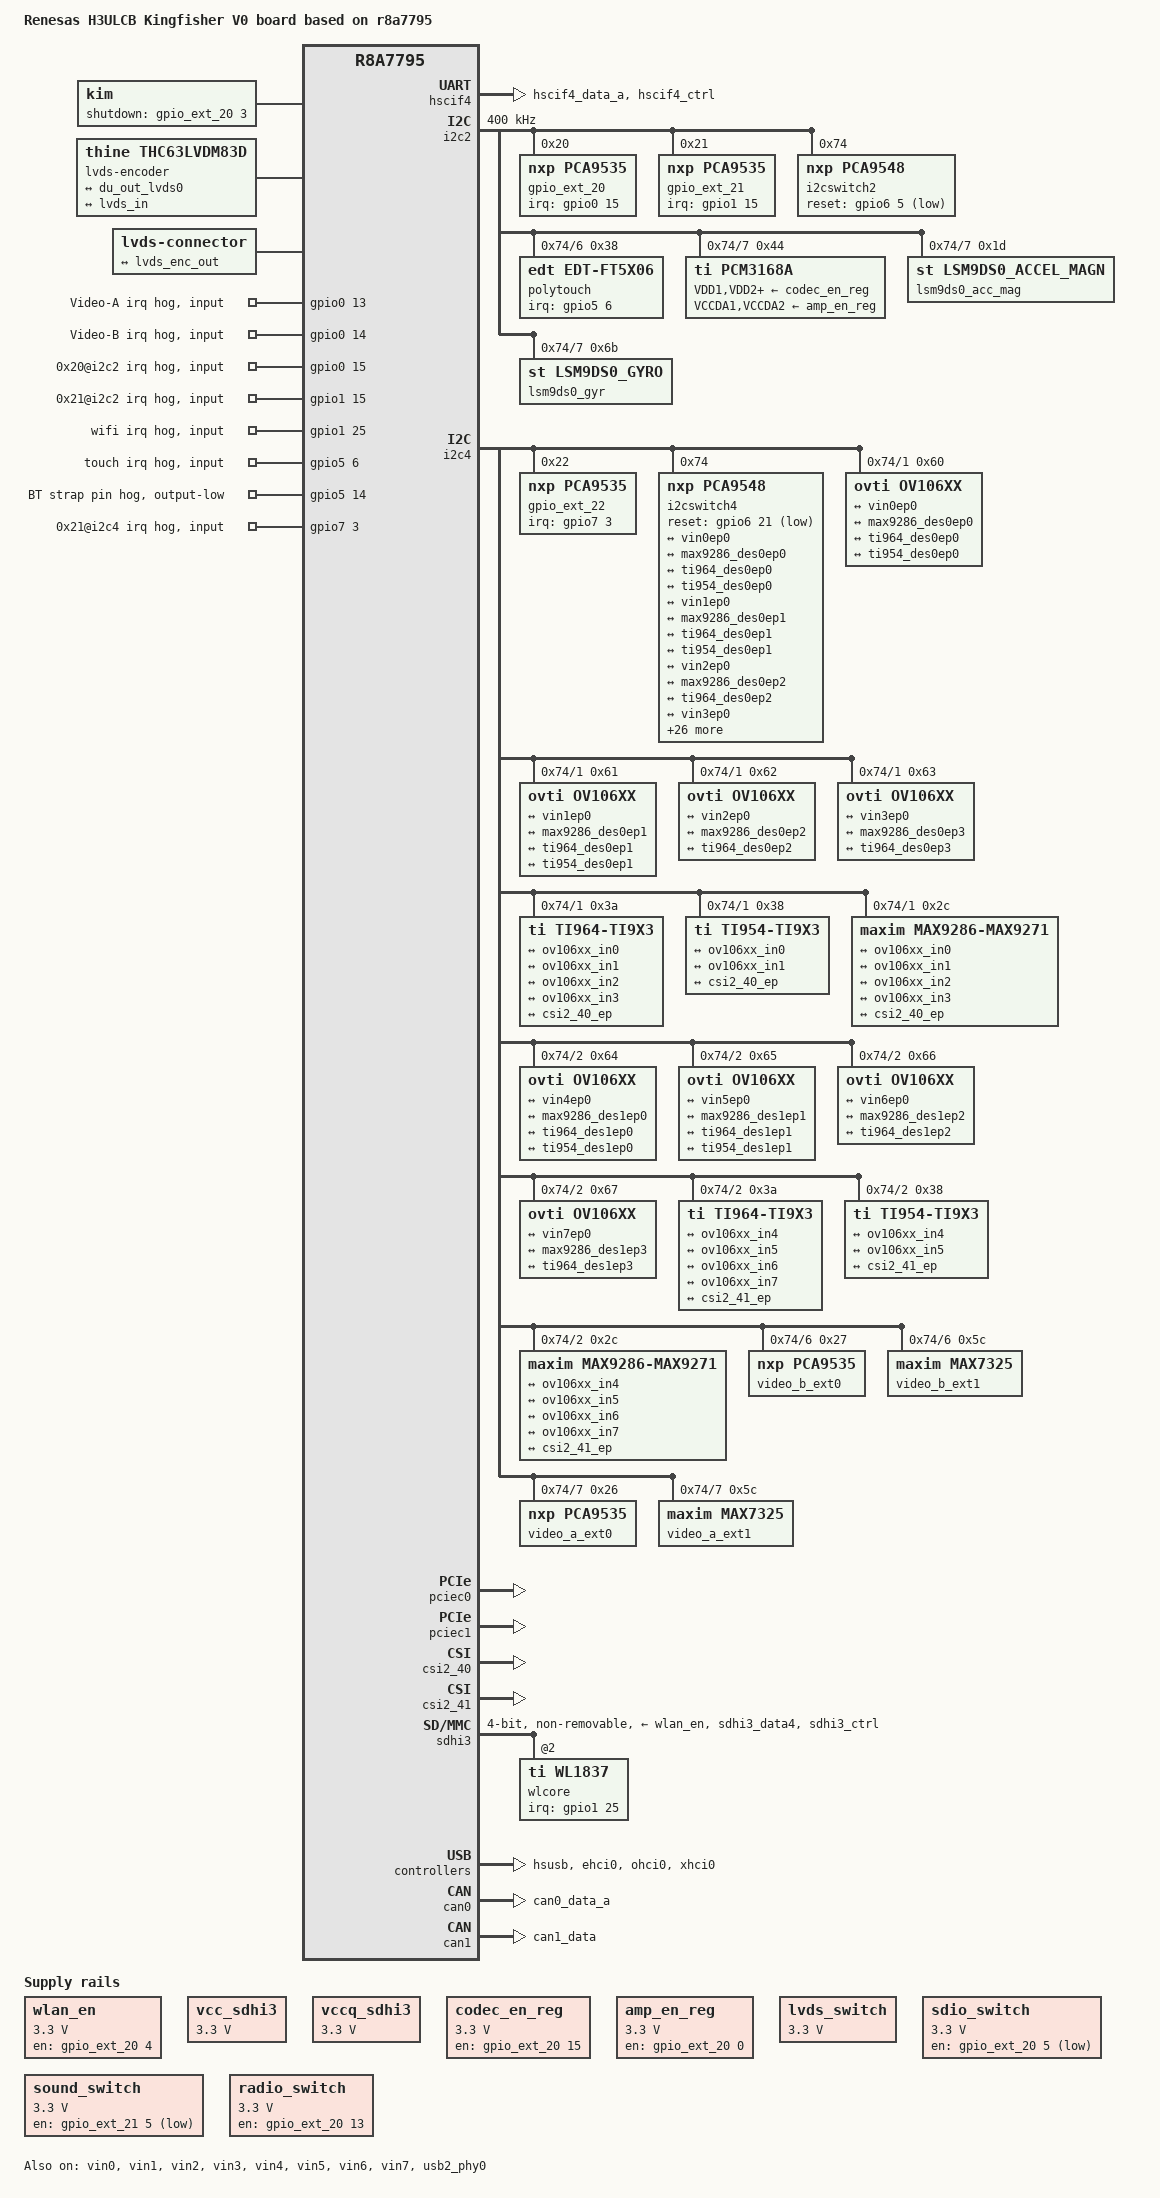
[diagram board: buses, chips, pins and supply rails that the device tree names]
/*
 * Device Tree Source for the H3ULCB Kingfisher V0 board on r8a7795 ES1.x
 *
 * Copyright (C) 2017 Renesas Electronics Corp.
 * Copyright (C) 2017 Cogent Embedded, Inc.
 *
 * This file is licensed under the terms of the GNU General Public License
 * version 2.  This program is licensed "as is" without any warranty of any
 * kind, whether express or implied.
 */

#include "../r8a7795-es1-h3ulcb.dts"

/ {
	model = "Renesas H3ULCB Kingfisher V0 board based on r8a7795";

	aliases {
		serial1 = &hscif4;
	};

	snd_clk: snd_clk {
		compatible = "fixed-clock";
		#clock-cells = <0>;
		clock-frequency = <24576000>;
		clock-output-names = "scki";
	};

	wlan_en: regulator@4 {
		compatible = "regulator-fixed";
		regulator-name = "wlan-en-regulator";

		regulator-min-microvolt = <3300000>;
		regulator-max-microvolt = <3300000>;

		gpio = <&gpio_ext_20 4 GPIO_ACTIVE_HIGH>;
		enable-active-high;
	};

	vcc_sdhi3: regulator@41 {
		compatible = "regulator-fixed";

		regulator-name = "SDHI3 Vcc";
		regulator-min-microvolt = <3300000>;
		regulator-max-microvolt = <3300000>;
		regulator-always-on;
	};

	vccq_sdhi3: regulator@5 {
		compatible = "regulator-fixed";

		regulator-name = "SDHI3 VccQ";
		regulator-min-microvolt = <3300000>;
		regulator-max-microvolt = <3300000>;
	};

	codec_en_reg: regulator@6 {
		compatible = "regulator-fixed";
		regulator-name = "codec-en-regulator";
		regulator-min-microvolt = <3300000>;
		regulator-max-microvolt = <3300000>;

		gpio = <&gpio_ext_20 15 0>;

		/* delay - CHECK */
		startup-delay-us = <70000>;
		enable-active-high;
	};

	amp_en_reg: regulator@7 {
		compatible = "regulator-fixed";
		regulator-name = "amp-en-regulator";
		regulator-min-microvolt = <3300000>;
		regulator-max-microvolt = <3300000>;

		gpio = <&gpio_ext_20 0 0>;

		startup-delay-us = <0>;
		enable-active-high;
	};

	lvds_switch: regulator@8 {
		compatible = "regulator-fixed";
		regulator-name = "lvds_on";
		regulator-min-microvolt = <3300000>;
		regulator-max-microvolt = <3300000>;
		/* gpio = <&gpio1 24 0>; */
		enable-active-high;
		regulator-always-on;
	};

	sdio_switch: regulator@9 {
		compatible = "regulator-fixed";
		regulator-name = "wifi_on";
		regulator-min-microvolt = <3300000>;
		regulator-max-microvolt = <3300000>;
		gpio = <&gpio_ext_20 5 0>;
		enable-active-low;
		regulator-always-on;
	};

	sound_switch: regulator@10 {
		compatible = "regulator-fixed";
		regulator-name = "pcm3168a_on";
		regulator-min-microvolt = <3300000>;
		regulator-max-microvolt = <3300000>;
		gpio = <&gpio_ext_21 5 0>;
		enable-active-low;
		regulator-always-on;
	};

	radio_switch: regulator@11 {
		compatible = "regulator-fixed";
		regulator-name = "radio_on";
		regulator-min-microvolt = <3300000>;
		regulator-max-microvolt = <3300000>;
		gpio = <&gpio_ext_20 13 GPIO_ACTIVE_HIGH>;
		enable-active-high;
		regulator-always-on;
	};

	kim {
		compatible = "kim";
		shutdown-gpios = <&gpio_ext_20 3 GPIO_ACTIVE_HIGH>;
		/* serial1 */
		dev_name = "/dev/ttySC1";
		flow_cntrl = <1>;
		/* int div 8 hscif@26.6666656MHz */
		baud_rate = <3333332>;
	};

	btwilink {
		compatible = "btwilink";
	};

	sound_ext: sound@0 {
		pinctrl-0 = <&sound_0_pins>;
		pinctrl-names = "default";
		compatible = "simple-audio-card";

		simple-audio-card,format = "left_j";
		simple-audio-card,name = "pcm3168a";

		simple-audio-card,bitclock-master = <&sound_ext_master>;
		simple-audio-card,frame-master = <&sound_ext_master>;
		sound_ext_master: simple-audio-card,cpu@0 {
			sound-dai = <&rcar_sound 0>;
			dai-tdm-slot-num = <8>;
			dai-tdm-slot-width = <32>;
		};

		simple-audio-card,codec@0 {
			sound-dai = <&pcm3168a>;
			dai-tdm-slot-num = <8>;
			dai-tdm-slot-width = <32>;
			system-clock-frequency = <24576000>;
		};
	};

	/delete-node/sound;

	rsnd_ak4613: sound@1 {
		pinctrl-0 = <&sound_1_pins>;
		pinctrl-names = "default";
		compatible = "simple-audio-card";

		simple-audio-card,format = "left_j";
		simple-audio-card,name = "ak4613";

		simple-audio-card,bitclock-master = <&sndcpu>;
		simple-audio-card,frame-master = <&sndcpu>;

		sndcpu: simple-audio-card,cpu@1 {
			sound-dai = <&rcar_sound 1>;
		};

		sndcodec: simple-audio-card,codec@1 {
			sound-dai = <&ak4613>;
		};
	};

	sound_radio: sound@2 {
		pinctrl-0 = <&sound_2_pins>;
		pinctrl-names = "default";
		compatible = "simple-audio-card";

		simple-audio-card,format = "i2s";
		simple-audio-card,name = "radio";

		simple-audio-card,bitclock-master = <&sound_radio_master>;
		simple-audio-card,frame-master = <&sound_radio_master>;
		simple-audio-card,cpu@2 {
			sound-dai = <&rcar_sound 2>;
		};

		sound_radio_master: simple-audio-card,codec@2 {
			sound-dai = <&radio>;
			system-clock-frequency = <12288000>;
		};
	};

	lvds-encoder {
		compatible = "thine,thc63lvdm83d";

		ports {
			#address-cells = <1>;
			#size-cells = <0>;
			port@0 {
				reg = <0>;
				lvds_enc_in: endpoint {
					remote-endpoint = <&du_out_lvds0>;
				};
			};
			port@1 {
				reg = <1>;
				lvds_enc_out: endpoint {
					remote-endpoint = <&lvds_in>;
				};
			};
		};
	};

	lvds {
		compatible = "lvds-connector";

		width-mm = <210>;
		height-mm = <158>;

		panel-timing {
			/* 1280x800 @60Hz */
			clock-frequency = <65000000>;
			hactive = <1280>;
			vactive = <800>;
			hsync-len = <40>;
			hfront-porch = <80>;
			hback-porch = <40>;
			vfront-porch = <14>;
			vback-porch = <14>;
			vsync-len = <4>;
		};

		port {
			lvds_in: endpoint {
				remote-endpoint = <&lvds_enc_out>;
			};
		};
	};

	radio: si468x@0 {
		compatible = "si,si468x-pcm";
		status = "okay";

		#sound-dai-cells = <0>;
	};
};

&pfc {
	hscif4_pins: hscif4 {
		groups = "hscif4_data_a", "hscif4_ctrl";
		function = "hscif4";
	};

	sdhi3_pins_3v3: sd3_3v3 {
		groups = "sdhi3_data4", "sdhi3_ctrl";
		function = "sdhi3";
		power-source = <3300>;
	};

	sound_0_pins: sound0 {
		groups = "ssi78_ctrl", "ssi7_data", "ssi8_data";
		function = "ssi";
	};

	sound_1_pins: sound1 {
		groups = "ssi01239_ctrl", "ssi0_data", "ssi1_data_a";
		function = "ssi";
	};

	sound_2_pins: sound2 {
		groups = "ssi6_ctrl", "ssi6_data";
		function = "ssi";
	};

	usb0_pins: usb0 {
		groups = "usb0";
		function = "usb0";
	};

	can0_pins: can0 {
		groups = "can0_data_a";
		function = "can0";
	};

	can1_pins: can1 {
		groups = "can1_data";
		function = "can1";
	};

	canfd0_pins: canfd0 {
		groups = "canfd0_data_a";
		function = "canfd0";
	};

	canfd1_pins: canfd1 {
		groups = "canfd1_data";
		function = "canfd1";
	};
};

&du {
	ports {
		port@3 {
			endpoint {
				remote-endpoint = <&lvds_enc_in>;
			};
		};
	};
};

&gpio0 {
	video_a_irq {
		gpio-hog;
		gpios = <13 GPIO_ACTIVE_HIGH>;
		input;
		line-name = "Video-A irq";
	};

	video_b_irq {
		gpio-hog;
		gpios = <14 GPIO_ACTIVE_HIGH>;
		input;
		line-name = "Video-B irq";
	};

	gpioext_2_20_irq {
		gpio-hog;
		gpios = <15 GPIO_ACTIVE_HIGH>;
		input;
		line-name = "0x20@i2c2 irq";
	};
};

&gpio1 {
	gpioext_2_21_irq {
		gpio-hog;
		gpios = <15 GPIO_ACTIVE_HIGH>;
		input;
		line-name = "0x21@i2c2 irq";
	};

	wifi_irq {
		gpio-hog;
		gpios = <25 GPIO_ACTIVE_HIGH>;
		input;
		line-name = "wifi irq";
	};
};

&gpio5 {
	touch_irq {
		gpio-hog;
		gpios = <6 GPIO_ACTIVE_HIGH>;
		input;
		line-name = "touch irq";
	};

	/* From TI forum */
	/* BT_AUD_OUT should be pulled low when WL_EN is activated. */
	/* in case it isn't, wilink8 ends up in one of the test modes that introduces various issues */
	bt_strap {
		gpio-hog;
		gpios = <14 GPIO_ACTIVE_HIGH>;
		output-low;
		line-name = "BT strap pin";
	};
};

&gpio7 {
	gpioext_2_21_irq {
		gpio-hog;
		gpios = <3 GPIO_ACTIVE_HIGH>;
		input;
		line-name = "0x21@i2c4 irq";
	};
};

&hscif4 {
	pinctrl-0 = <&hscif4_pins>;
	pinctrl-names = "default";
	uart-has-rtscts;

	status = "okay";
};

&i2c2 {
	clock-frequency = <400000>;

	gpio_ext_20: pca9535@20 {
		compatible = "nxp,pca9535";
		reg = <0x20>;
		gpio-controller;
		#gpio-cells = <2>;
		interrupt-controller;
		interrupt-parent = <&gpio0>;
		interrupts = <15 IRQ_TYPE_EDGE_FALLING>;
	};

	gpio_ext_21: pca9535@21 {
		compatible = "nxp,pca9535";
		reg = <0x21>;
		gpio-controller;
		#gpio-cells = <2>;
		interrupt-controller;
		interrupt-parent = <&gpio1>;
		interrupts = <15 IRQ_TYPE_EDGE_FALLING>;
	};

	i2cswitch2: pca9548@74 {
		compatible = "nxp,pca9548";
		#address-cells = <1>;
		#size-cells = <0>;
		reg = <0x74>;
		reset-gpios = <&gpio6 5 GPIO_ACTIVE_LOW>;

		i2c@0 {
			#address-cells = <1>;
			#size-cells = <0>;
			reg = <0>;
			/* BCM node(s) */
		};

		i2c@1 {
			#address-cells = <1>;
			#size-cells = <0>;
			reg = <1>;
			/* USB3.0 HUB node(s) */
		};

		i2c@2 {
			#address-cells = <1>;
			#size-cells = <0>;
			reg = <2>;
			/* Power amp node(s) */
		};

		i2c@3 {
			#address-cells = <1>;
			#size-cells = <0>;
			reg = <3>;
			/* Radio node(s) */
		};

		i2c@4 {
			#address-cells = <1>;
			#size-cells = <0>;
			reg = <4>;
			/* A2B node(s) */
		};

		i2c@5 {
			#address-cells = <1>;
			#size-cells = <0>;
			reg = <5>;
			/* PCIe node(s) */
		};

		i2c@6 {
			#address-cells = <1>;
			#size-cells = <0>;
			reg = <6>;
			/* LVDS display node(s) */

			polytouch: edt-ft5x06@38 {
				compatible = "edt,edt-ft5x06";
				reg = <0x38>;
				interrupt-parent = <&gpio5>;
				interrupts = <6 IRQ_TYPE_EDGE_FALLING>;
			};
		};

		i2c@7 {
			#address-cells = <1>;
			#size-cells = <0>;
			reg = <7>;
			/* Audio, GPS and Gyro node(s) */

			pcm3168a: audio-codec@44 {
				#sound-dai-cells = <0>;
				compatible = "ti,pcm3168a";
				reg = <0x44>;
				clocks = <&snd_clk>;
				clock-names = "scki";
				tdm;
				VDD1-supply = <&codec_en_reg>;
				VDD2-supply = <&codec_en_reg>;
				VCCAD1-supply = <&codec_en_reg>;
				VCCAD2-supply = <&codec_en_reg>;
				VCCDA1-supply = <&amp_en_reg>;
				VCCDA2-supply = <&amp_en_reg>;
			};

			lsm9ds0_acc_mag@1d {
				compatible = "st,lsm9ds0_accel_magn";
				reg = <0x1d>;
			};

			lsm9ds0_gyr@6b {
				compatible = "st,lsm9ds0_gyro";
				reg = <0x6b>;
			};

			/* GPS@ 0x42 */
		};
	};
};

&i2c4 {
	gpio_ext_22: pca9535@21 {
		compatible = "nxp,pca9535";
		reg = <0x22>;
		gpio-controller;
		#gpio-cells = <2>;
		interrupt-controller;
		interrupt-parent = <&gpio7>;
		interrupts = <3 IRQ_TYPE_EDGE_FALLING>;

		cmos_pwdn {
			gpio-hog;
			gpios = <8 GPIO_ACTIVE_HIGH>;
			output-high;
			line-name = "CMOS PWDN";
		};
		cmos_rst {
			gpio-hog;
			gpios = <9 GPIO_ACTIVE_HIGH>;
			output-high;
			line-name = "CMOS RST";
		};
		/* pin 12 - CAM_CLK */
		rpi_cam_io_1 {
			gpio-hog;
			gpios = <10 GPIO_ACTIVE_HIGH>;
			output-high;
			line-name = "RaspB_IO1";
		};
		/* pin 11 - CAM_GPIO - assume pwdn */
		rpi_cam_io_0 {
			gpio-hog;
			gpios = <11 GPIO_ACTIVE_HIGH>;
			output-high;
			line-name = "RaspB_IO0";
		};
	};

	i2cswitch4: pca9548@74 {
		compatible = "nxp,pca9548";
		#address-cells = <1>;
		#size-cells = <0>;
		reg = <0x74>;
		reset-gpios= <&gpio6 21 GPIO_ACTIVE_LOW>;

		i2c@0 {
			#address-cells = <1>;
			#size-cells = <0>;
			reg = <0>;
			/* SAM node(s) */
		};

		i2c@1 {
			#address-cells = <1>;
			#size-cells = <0>;
			reg = <1>;
			/* Slot A (CN10) */

			ov106xx@0 {
				compatible = "ovti,ov106xx";
				reg = <0x60>;

				port@0 {
					ov106xx_in0: endpoint {
						clock-lanes = <0>;
						data-lanes = <1 2 3 4>;
						remote-endpoint = <&vin0ep0>;
					};
				};
				port@1 {
					ov106xx_max9286_des0ep0: endpoint@0 {
						remote-endpoint = <&max9286_des0ep0>;
					};
					ov106xx_ti964_des0ep0: endpoint@1 {
						remote-endpoint = <&ti964_des0ep0>;
					};
					ov106xx_ti954_des0ep0: endpoint@2 {
						remote-endpoint = <&ti954_des0ep0>;
					};
				};
			};

			ov106xx@1 {
				compatible = "ovti,ov106xx";
				reg = <0x61>;

				port@0 {
					ov106xx_in1: endpoint {
						clock-lanes = <0>;
						data-lanes = <1 2 3 4>;
						remote-endpoint = <&vin1ep0>;
					};
				};
				port@1 {
					ov106xx_max9286_des0ep1: endpoint@0 {
						remote-endpoint = <&max9286_des0ep1>;
					};
					ov106xx_ti964_des0ep1: endpoint@1 {
						remote-endpoint = <&ti964_des0ep1>;
					};
					ov106xx_ti954_des0ep1: endpoint@2 {
						remote-endpoint = <&ti954_des0ep1>;
					};
				};
			};

			ov106xx@2 {
				compatible = "ovti,ov106xx";
				reg = <0x62>;

				port@0 {
					ov106xx_in2: endpoint {
						clock-lanes = <0>;
						data-lanes = <1 2 3 4>;
						remote-endpoint = <&vin2ep0>;
					};
				};
				port@1 {
					ov106xx_max9286_des0ep2: endpoint@0 {
						remote-endpoint = <&max9286_des0ep2>;
					};
					ov106xx_ti964_des0ep2: endpoint@1 {
						remote-endpoint = <&ti964_des0ep2>;
					};
				};
			};

			ov106xx@3 {
				compatible = "ovti,ov106xx";
				reg = <0x63>;

				port@0 {
					ov106xx_in3: endpoint {
						clock-lanes = <0>;
						data-lanes = <1 2 3 4>;
						remote-endpoint = <&vin3ep0>;
					};
				};
				port@1 {
					ov106xx_max9286_des0ep3: endpoint@0 {
						remote-endpoint = <&max9286_des0ep3>;
					};
					ov106xx_ti964_des0ep3: endpoint@1 {
						remote-endpoint = <&ti964_des0ep3>;
					};
				};
			};

			/* DS90UB964 @ 0x3a */
			ti964-ti9x3@0 {
				compatible = "ti,ti964-ti9x3";
				reg = <0x3a>;
				ti,sensor_delay = <350>;
				ti,links = <4>;
				ti,lanes = <4>;
				ti,forwarding-mode = "round-robin";
				ti,cable-mode = "coax";

				port@0 {
					ti964_des0ep0: endpoint@0 {
						ti9x3-addr = <0x0c>;
						dvp-order = <0>;
						remote-endpoint = <&ov106xx_in0>;
					};
					ti964_des0ep1: endpoint@1 {
						ti9x3-addr = <0x0d>;
						dvp-order = <0>;
						remote-endpoint = <&ov106xx_in1>;
					};
					ti964_des0ep2: endpoint@2 {
						ti9x3-addr = <0x0e>;
						dvp-order = <0>;
						remote-endpoint = <&ov106xx_in2>;
					};
					ti964_des0ep3: endpoint@3 {
						ti9x3-addr = <0x0f>;
						dvp-order = <0>;
						remote-endpoint = <&ov106xx_in3>;
					};
				};
				port@1 {
					ti964_csi0ep0: endpoint {
						csi-rate = <1450>;
						remote-endpoint = <&csi2_40_ep>;
					};
				};
			};

			/* DS90UB954 @ 0x38 */
			ti954-ti9x3@0 {
				compatible = "ti,ti954-ti9x3";
				reg = <0x38>;
				/* gpios = <&video_a_ext1 10 GPIO_ACTIVE_HIGH>; */
				ti,sensor_delay = <350>;
				ti,links = <2>;
				ti,lanes = <4>;
				ti,forwarding-mode = "round-robin";
				ti,cable-mode = "coax";

				port@0 {
					ti954_des0ep0: endpoint@0 {
						ti9x3-addr = <0x0c>;
						dvp-order = <0>;
						remote-endpoint = <&ov106xx_in0>;
					};
					ti954_des0ep1: endpoint@1 {
						ti9x3-addr = <0x0d>;
						dvp-order = <0>;
						remote-endpoint = <&ov106xx_in1>;
					};
				};
				port@1 {
					ti954_csi0ep0: endpoint {
						csi-rate = <1450>;
						remote-endpoint = <&csi2_40_ep>;
					};
				};
			};

			/* MAX9286 @ 0x2c */
			max9286-max9271@0 {
				compatible = "maxim,max9286-max9271";
				reg = <0x2c>;
				maxim,sensor_delay = <350>;
				maxim,links = <4>;
				maxim,lanes = <4>;
				maxim,resetb-gpio = <1>;
				maxim,fsync-mode = "automatic";
				maxim,timeout = <100>;

				port@0 {
					max9286_des0ep0: endpoint@0 {
						max9271-addr = <0x50>;
						dvp-order = <1>;
						remote-endpoint = <&ov106xx_in0>;
					};
					max9286_des0ep1: endpoint@1 {
						max9271-addr = <0x51>;
						dvp-order = <1>;
						remote-endpoint = <&ov106xx_in1>;
					};
					max9286_des0ep2: endpoint@2 {
						max9271-addr = <0x52>;
						dvp-order = <1>;
						remote-endpoint = <&ov106xx_in2>;
					};
					max9286_des0ep3: endpoint@3 {
						max9271-addr = <0x53>;
						dvp-order = <1>;
						remote-endpoint = <&ov106xx_in3>;
					};
				};
				port@1 {
					max9286_csi0ep0: endpoint {
						csi-rate = <700>;
						remote-endpoint = <&csi2_40_ep>;
					};
				};
			};
		};

		i2c@2 {
			#address-cells = <1>;
			#size-cells = <0>;
			reg = <2>;
			/* Slot B (CN11) */

			ov106xx@4 {
				compatible = "ovti,ov106xx";
				reg = <0x64>;

				port@0 {
					ov106xx_in4: endpoint {
						clock-lanes = <0>;
						data-lanes = <1 2 3 4>;
						remote-endpoint = <&vin4ep0>;
					};
				};
				port@1 {
					ov106xx_max9286_des1ep0: endpoint@0 {
						remote-endpoint = <&max9286_des1ep0>;
					};
					ov106xx_ti964_des1ep0: endpoint@1 {
						remote-endpoint = <&ti964_des1ep0>;
					};
					ov106xx_ti954_des1ep0: endpoint@2 {
						remote-endpoint = <&ti954_des1ep0>;
					};
				};
			};

			ov106xx@5 {
				compatible = "ovti,ov106xx";
				reg = <0x65>;

				port@0 {
					ov106xx_in5: endpoint {
						clock-lanes = <0>;
						data-lanes = <1 2 3 4>;
						remote-endpoint = <&vin5ep0>;
					};
				};
				port@1 {
					ov106xx_max9286_des1ep1: endpoint@0 {
						remote-endpoint = <&max9286_des1ep1>;
					};
					ov106xx_ti964_des1ep1: endpoint@1 {
						remote-endpoint = <&ti964_des1ep1>;
					};
					ov106xx_ti954_des1ep1: endpoint@2 {
						remote-endpoint = <&ti954_des1ep1>;
					};
				};
			};

			ov106xx@6 {
				compatible = "ovti,ov106xx";
				reg = <0x66>;

				port@0 {
					ov106xx_in6: endpoint {
						clock-lanes = <0>;
						data-lanes = <1 2 3 4>;
						remote-endpoint = <&vin6ep0>;
					};
				};
				port@1 {
					ov106xx_max9286_des1ep2: endpoint@0 {
						remote-endpoint = <&max9286_des1ep2>;
					};
					ov106xx_ti964_des1ep2: endpoint@1 {
						remote-endpoint = <&ti964_des1ep2>;
					};
				};
			};

			ov106xx@7 {
				compatible = "ovti,ov106xx";
				reg = <0x67>;

				port@0 {
					ov106xx_in7: endpoint {
						clock-lanes = <0>;
						data-lanes = <1 2 3 4>;
						remote-endpoint = <&vin7ep0>;
					};
				};
				port@1 {
					ov106xx_max9286_des1ep3: endpoint@0 {
						remote-endpoint = <&max9286_des1ep3>;
					};
					ov106xx_ti964_des1ep3: endpoint@1 {
						remote-endpoint = <&ti964_des1ep3>;
					};
				};
			};

			/* DS90UB964 @ 0x3a */
			ti964-ti9x3@1 {
				compatible = "ti,ti964-ti9x3";
				reg = <0x3a>;
				ti,sensor_delay = <350>;
				ti,links = <4>;
				ti,lanes = <4>;
				ti,forwarding-mode = "round-robin";
				ti,cable-mode = "coax";

				port@0 {
					ti964_des1ep0: endpoint@0 {
						ti9x3-addr = <0x0c>;
						dvp-order = <0>;
						remote-endpoint = <&ov106xx_in4>;
					};
					ti964_des1ep1: endpoint@1 {
						ti9x3-addr = <0x0d>;
						dvp-order = <0>;
						remote-endpoint = <&ov106xx_in5>;
					};
					ti964_des1ep2: endpoint@2 {
						ti9x3-addr = <0x0e>;
						dvp-order = <0>;
						remote-endpoint = <&ov106xx_in6>;
					};
					ti964_des1ep3: endpoint@3 {
						ti9x3-addr = <0x0f>;
						dvp-order = <0>;
						remote-endpoint = <&ov106xx_in7>;
					};
				};
				port@1 {
					ti964_csi2ep0: endpoint {
						csi-rate = <1450>;
						remote-endpoint = <&csi2_41_ep>;
					};
				};
			};

			/* DS90UB954 @ 0x38 */
			ti954-ti9x3@1 {
				compatible = "ti,ti954-ti9x3";
				reg = <0x38>;
				/* gpios = <&video_b_ext1 10 GPIO_ACTIVE_HIGH>; */
				ti,sensor_delay = <350>;
				ti,links = <2>;
				ti,lanes = <4>;
				ti,forwarding-mode = "round-robin";
				ti,cable-mode = "coax";

				port@0 {
					ti954_des1ep0: endpoint@0 {
						ti9x3-addr = <0x0c>;
						dvp-order = <0>;
						remote-endpoint = <&ov106xx_in4>;
					};
					ti954_des1ep1: endpoint@1 {
						ti9x3-addr = <0x0d>;
						dvp-order = <0>;
						remote-endpoint = <&ov106xx_in5>;
					};
				};
				port@1 {
					ti954_csi2ep0: endpoint {
						csi-rate = <1450>;
						remote-endpoint = <&csi2_41_ep>;
					};
				};
			};

			/* MAX9286 @ 0x2c */
			max9286-max9271@1 {
				compatible = "maxim,max9286-max9271";
				reg = <0x2c>;
				maxim,sensor_delay = <350>;
				maxim,links = <4>;
				maxim,lanes = <4>;
				maxim,resetb-gpio = <1>;
				maxim,fsync-mode = "automatic";
				maxim,timeout = <100>;

				port@0 {
					max9286_des1ep0: endpoint@0 {
						max9271-addr = <0x50>;
						dvp-order = <1>;
						remote-endpoint = <&ov106xx_in4>;
					};
					max9286_des1ep1: endpoint@1 {
						max9271-addr = <0x51>;
						dvp-order = <1>;
						remote-endpoint = <&ov106xx_in5>;
					};
					max9286_des1ep2: endpoint@2 {
						max9271-addr = <0x52>;
						dvp-order = <1>;
						remote-endpoint = <&ov106xx_in6>;
					};
					max9286_des1ep3: endpoint@3 {
						max9271-addr = <0x53>;
						dvp-order = <1>;
						remote-endpoint = <&ov106xx_in7>;
					};
				};
				port@1 {
					max9286_csi2ep0: endpoint {
						csi-rate = <700>;
						remote-endpoint = <&csi2_41_ep>;
					};
				};
			};
		};

		i2c@6 {
			#address-cells = <1>;
			#size-cells = <0>;
			reg = <6>;
			/* Slot B (CN11) */

			video_b_ext0: pca9535@27 {
				compatible = "nxp,pca9535";
				reg = <0x27>;
				gpio-controller;
				#gpio-cells = <2>;

				video_b_des_cfg1 {
					gpio-hog;
					gpios = <5 GPIO_ACTIVE_HIGH>;
					input;
					line-name = "Video-B cfg1";
				};
				video_b_des_cfg0 {
					gpio-hog;
					gpios = <6 GPIO_ACTIVE_HIGH>;
					input;
					line-name = "Video-B cfg0";
				};
				video_b_pwr_shdn {
					gpio-hog;
					gpios = <3 GPIO_ACTIVE_HIGH>;
					output-high;
					line-name = "Video-B PWR_SHDN";
				};
				video_b_cam_pwr0 {
					gpio-hog;
					gpios = <12 GPIO_ACTIVE_HIGH>;
					output-high;
					line-name = "Video-B PWR0";
				};
				video_b_cam_pwr1 {
					gpio-hog;
					gpios = <13 GPIO_ACTIVE_HIGH>;
					output-high;
					line-name = "Video-B PWR1";
				};
				video_b_cam_pwr2 {
					gpio-hog;
					gpios = <14 GPIO_ACTIVE_HIGH>;
					output-high;
					line-name = "Video-B PWR2";
				};
				video_b_cam_pwr3 {
					gpio-hog;
					gpios = <15 GPIO_ACTIVE_HIGH>;
					output-high;
					line-name = "Video-B PWR3";
				};
				video_b_des_shdn {
					gpio-hog;
					gpios = <4 GPIO_ACTIVE_HIGH>;
					output-high;
					line-name = "Video-B DES_SHDN";
				};
				video_b_des_led {
					gpio-hog;
					gpios = <7 GPIO_ACTIVE_HIGH>;
					output-low;
					line-name = "Video-B led";
				};
			};

			video_b_ext1: max7325@5c {
				compatible = "maxim,max7325";
				reg = <0x5c>;
				gpio-controller;
				#gpio-cells = <2>;

				video_b_des_cfg2 {
					gpio-hog;
					gpios = <4 GPIO_ACTIVE_HIGH>;
					input;
					line-name = "Video-B cfg2";
				};
				video_b_des_cfg1 {
					gpio-hog;
					gpios = <6 GPIO_ACTIVE_HIGH>;
					input;
					line-name = "Video-B cfg1";
				};
				video_b_des_cfg0 {
					gpio-hog;
					gpios = <7 GPIO_ACTIVE_HIGH>;
					input;
					line-name = "Video-B cfg0";
				};
				video_b_pwr_shdn {
					gpio-hog;
					gpios = <14 GPIO_ACTIVE_HIGH>;
					output-high;
					line-name = "Video-B PWR_SHDN";
				};
				video_b_cam_pwr0 {
					gpio-hog;
					gpios = <8 GPIO_ACTIVE_HIGH>;
					output-high;
					line-name = "Video-B PWR0";
				};
				video_b_cam_pwr1 {
					gpio-hog;
					gpios = <9 GPIO_ACTIVE_HIGH>;
					output-high;
					line-name = "Video-B PWR1";
				};
				video_b_cam_pwr2 {
					gpio-hog;
					gpios = <10 GPIO_ACTIVE_HIGH>;
					output-high;
					line-name = "Video-B PWR2";
				};
				video_b_cam_pwr3 {
					gpio-hog;
					gpios = <11 GPIO_ACTIVE_HIGH>;
					output-high;
					line-name = "Video-B PWR3";
				};
				video_b_des_shdn {
					gpio-hog;
					gpios = <13 GPIO_ACTIVE_HIGH>;
					output-high;
					line-name = "Video-B DES_SHDN";
				};
				video_b_led {
					gpio-hog;
					gpios = <12 GPIO_ACTIVE_HIGH>;
					output-low;
					line-name = "Video-B LED";
				};
			};
		};

		i2c@7 {
			#address-cells = <1>;
			#size-cells = <0>;
			reg = <7>;
			/* Slot A (CN10) */

			video_a_ext0: pca9535@26 {
				compatible = "nxp,pca9535";
				reg = <0x26>;
				gpio-controller;
				#gpio-cells = <2>;

				video_a_des_cfg1 {
					gpio-hog;
					gpios = <5 GPIO_ACTIVE_HIGH>;
					input;
					line-name = "Video-A cfg1";
				};
				video_a_des_cfg0 {
					gpio-hog;
					gpios = <6 GPIO_ACTIVE_HIGH>;
					input;
					line-name = "Video-A cfg0";
				};
				video_a_pwr_shdn {
					gpio-hog;
					gpios = <3 GPIO_ACTIVE_HIGH>;
					output-high;
					line-name = "Video-A PWR_SHDN";
				};
				video_a_cam_pwr0 {
					gpio-hog;
					gpios = <12 GPIO_ACTIVE_HIGH>;
					output-high;
					line-name = "Video-A PWR0";
				};
				video_a_cam_pwr1 {
					gpio-hog;
					gpios = <13 GPIO_ACTIVE_HIGH>;
					output-high;
					line-name = "Video-A PWR1";
				};
				video_a_cam_pwr2 {
					gpio-hog;
					gpios = <14 GPIO_ACTIVE_HIGH>;
					output-high;
					line-name = "Video-A PWR2";
				};
				video_a_cam_pwr3 {
					gpio-hog;
					gpios = <15 GPIO_ACTIVE_HIGH>;
					output-high;
					line-name = "Video-A PWR3";
				};
				video_a_des_shdn {
					gpio-hog;
					gpios = <4 GPIO_ACTIVE_HIGH>;
					output-high;
					line-name = "Video-A DES_SHDN";
				};
				video_a_des_led {
					gpio-hog;
					gpios = <7 GPIO_ACTIVE_HIGH>;
					output-low;
					line-name = "Video-A led";
				};
			};

			video_a_ext1: max7325@5c {
				compatible = "maxim,max7325";
				reg = <0x5c>;
				gpio-controller;
				#gpio-cells = <2>;

				video_a_des_cfg2 {
					gpio-hog;
					gpios = <4 GPIO_ACTIVE_HIGH>;
					input;
					line-name = "Video-A cfg2";
				};
				video_a_des_cfg1 {
					gpio-hog;
					gpios = <6 GPIO_ACTIVE_HIGH>;
					input;
					line-name = "Video-A cfg1";
				};
				video_a_des_cfg0 {
					gpio-hog;
					gpios = <7 GPIO_ACTIVE_HIGH>;
					input;
					line-name = "Video-A cfg0";
				};
				video_a_pwr_shdn {
					gpio-hog;
					gpios = <14 GPIO_ACTIVE_HIGH>;
					output-high;
					line-name = "Video-A PWR_SHDN";
				};
				video_a_cam_pwr0 {
					gpio-hog;
					gpios = <8 GPIO_ACTIVE_HIGH>;
					output-high;
					line-name = "Video-A PWR0";
				};
				video_a_cam_pwr1 {
					gpio-hog;
					gpios = <9 GPIO_ACTIVE_HIGH>;
					output-high;
					line-name = "Video-A PWR1";
				};
				video_a_cam_pwr2 {
					gpio-hog;
					gpios = <10 GPIO_ACTIVE_HIGH>;
					output-high;
					line-name = "Video-A PWR2";
				};
				video_a_cam_pwr3 {
					gpio-hog;
					gpios = <11 GPIO_ACTIVE_HIGH>;
					output-high;
					line-name = "Video-A PWR3";
				};
				video_a_des_shdn {
					gpio-hog;
					gpios = <13 GPIO_ACTIVE_HIGH>;
					output-high;
					line-name = "Video-A DES_SHDN";
				};
				video_a_led {
					gpio-hog;
					gpios = <12 GPIO_ACTIVE_HIGH>;
					output-low;
					line-name = "Video-A LED";
				};
			};
		};
	};
};

&pcie_bus_clk {
	clock-frequency = <100000000>;
	status = "okay";
};

&pciec0 {
	status = "okay";
};

&pciec1 {
	status = "okay";
};

&vin0 {
	status = "okay";

	ports {
		#address-cells = <1>;
		#size-cells = <0>;

		port@0 {
			vin0ep0: endpoint {
				csi,select = "csi40";
				virtual,channel = <0>;
				data-lanes = <1 2 3 4>;
				remote-endpoint = <&ov106xx_in0>;
			};
		};
		port@1 {
			csi0ep0: endpoint {
				remote-endpoint = <&csi2_40_ep>;
			};
		};
		port@2 {
			vin0_max9286_des0ep0: endpoint@0 {
				remote-endpoint = <&max9286_des0ep0>;
			};
			vin0_ti964_des0ep0: endpoint@1 {
				remote-endpoint = <&ti964_des0ep0>;
			};
			vin0_ti954_des0ep0: endpoint@2 {
				remote-endpoint = <&ti954_des0ep0>;
			};
		};
	};
};

&vin1 {
	status = "okay";

	ports {
		#address-cells = <1>;
		#size-cells = <0>;

		port@0 {
			vin1ep0: endpoint {
				csi,select = "csi40";
				virtual,channel = <1>;
				data-lanes = <1 2 3 4>;
				remote-endpoint = <&ov106xx_in1>;
			};
		};
		port@1 {
			csi0ep1: endpoint {
				remote-endpoint = <&csi2_40_ep>;
			};
		};
		port@2 {
			vin1_max9286_des0ep1: endpoint@0 {
				remote-endpoint = <&max9286_des0ep1>;
			};
			vin1_ti964_des0ep1: endpoint@1 {
				remote-endpoint = <&ti964_des0ep1>;
			};
			vin1_ti954_des0ep1: endpoint@2 {
				remote-endpoint = <&ti954_des0ep1>;
			};
		};
	};
};

&vin2 {
	status = "okay";

	ports {
		#address-cells = <1>;
		#size-cells = <0>;

		port@0 {
			vin2ep0: endpoint {
				csi,select = "csi40";
				virtual,channel = <2>;
				data-lanes = <1 2 3 4>;
				remote-endpoint = <&ov106xx_in2>;
			};
		};
		port@1 {
			csi0ep2: endpoint {
				remote-endpoint = <&csi2_40_ep>;
			};
		};
		port@2 {
			vin2_max9286_des0ep2: endpoint@0 {
				remote-endpoint = <&max9286_des0ep2>;
			};
			vin2_ti964_des0ep2: endpoint@1 {
				remote-endpoint = <&ti964_des0ep2>;
			};
		};
	};
};

&vin3 {
	status = "okay";

	ports {
		#address-cells = <1>;
		#size-cells = <0>;

		port@0 {
			vin3ep0: endpoint {
				csi,select = "csi40";
				virtual,channel = <3>;
				data-lanes = <1 2 3 4>;
				remote-endpoint = <&ov106xx_in3>;
			};
		};
		port@1 {
			csi0ep3: endpoint {
				remote-endpoint = <&csi2_40_ep>;
			};
		};
		port@2 {
			vin3_max9286_des0ep3: endpoint@0 {
				remote-endpoint = <&max9286_des0ep3>;
			};
			vin3_ti964_des0ep3: endpoint@1 {
				remote-endpoint = <&ti964_des0ep3>;
			};
		};
	};
};

&vin4 {
	status = "okay";

	ports {
		#address-cells = <1>;
		#size-cells = <0>;

		port@0 {
			vin4ep0: endpoint {
				csi,select = "csi41";
				virtual,channel = <0>;
				remote-endpoint = <&ov106xx_in4>;
				data-lanes = <1 2 3 4>;
			};
		};
		port@1 {
			csi2ep0: endpoint {
				remote-endpoint = <&csi2_41_ep>;
			};
		};
		port@2 {
			vin4_max9286_des1ep0: endpoint@0 {
				remote-endpoint = <&max9286_des1ep0>;
			};
			vin4_ti964_des1ep0: endpoint@1 {
				remote-endpoint = <&ti964_des1ep0>;
			};
			vin4_ti954_des1ep0: endpoint@2 {
				remote-endpoint = <&ti954_des1ep0>;
			};
		};
	};
};

&vin5 {
	status = "okay";

	ports {
		#address-cells = <1>;
		#size-cells = <0>;

		port@0 {
			vin5ep0: endpoint@0 {
				csi,select = "csi41";
				virtual,channel = <1>;
				remote-endpoint = <&ov106xx_in5>;
				data-lanes = <1 2 3 4>;
			};
		};
		port@1 {
			csi2ep1: endpoint {
				remote-endpoint = <&csi2_41_ep>;
			};
		};
		port@2 {
			vin5_max9286_des1ep1: endpoint@0 {
				remote-endpoint = <&max9286_des1ep1>;
			};
			vin5_ti964_des1ep1: endpoint@1 {
				remote-endpoint = <&ti964_des1ep1>;
			};
			vin5_ti954_des1ep1: endpoint@2 {
				remote-endpoint = <&ti954_des1ep1>;
			};
		};
	};
};

&vin6 {
	status = "okay";

	ports {
		#address-cells = <1>;
		#size-cells = <0>;

		port@0 {
			vin6ep0: endpoint@0 {
				csi,select = "csi41";
				virtual,channel = <2>;
				remote-endpoint = <&ov106xx_in6>;
				data-lanes = <1 2 3 4>;
			};
		};
		port@1 {
			csi2ep2: endpoint {
				remote-endpoint = <&csi2_41_ep>;
			};
		};
		port@2 {
			vin6_max9286_des1ep2: endpoint@0 {
				remote-endpoint = <&max9286_des1ep2>;
			};
			vin6_ti964_des1ep2: endpoint@1 {
				remote-endpoint = <&ti964_des1ep2>;
			};
		};
	};
};

&vin7 {
	status = "okay";

	ports {
		#address-cells = <1>;
		#size-cells = <0>;

		port@0 {
			vin7ep0: endpoint@0 {
				csi,select = "csi41";
				virtual,channel = <3>;
				remote-endpoint = <&ov106xx_in7>;
				data-lanes = <1 2 3 4>;
			};
		};
		port@1 {
			csi2ep3: endpoint {
				remote-endpoint = <&csi2_41_ep>;
			};
		};
		port@2 {
			vin7_max9286_des1ep3: endpoint@0 {
				remote-endpoint = <&max9286_des1ep3>;
			};
			vin7_ti964_des1ep3: endpoint@1 {
				remote-endpoint = <&ti964_des1ep3>;
			};
		};
	};
};

&csi2_40 {
	status = "okay";

	virtual,channel {
		csi2_vc0 {
			data,type = "ycbcr422";
			receive,vc = <0>;
		};
		csi2_vc1 {
			data,type = "ycbcr422";
			receive,vc = <1>;
		};
		csi2_vc2 {
			data,type = "ycbcr422";
			receive,vc = <2>;
		};
		csi2_vc3 {
			data,type = "ycbcr422";
			receive,vc = <3>;
		};
	};

	port {
		#address-cells = <1>;
		#size-cells = <0>;

		csi2_40_ep: endpoint {
			clock-lanes = <0>;
			data-lanes = <1 2 3 4>;
			csi-rate = <300>;
		};
	};
};

&csi2_41 {
	status = "okay";

	virtual,channel {
		csi2_vc0 {
			data,type = "ycbcr422";
			receive,vc = <0>;
		};
		csi2_vc1 {
			data,type = "ycbcr422";
			receive,vc = <1>;
		};
		csi2_vc2 {
			data,type = "ycbcr422";
			receive,vc = <2>;
		};
		csi2_vc3 {
			data,type = "ycbcr422";
			receive,vc = <3>;
		};
	};

	port {
		#address-cells = <1>;
		#size-cells = <0>;

		csi2_41_ep: endpoint {
			clock-lanes = <0>;
			data-lanes = <1 2 3 4>;
			csi-rate = <300>;
		};
	};
};

&rcar_sound {
	pinctrl-0 = <&sound_clk_pins>;

	/* Multi DAI */
	#sound-dai-cells = <1>;

	rcar_sound,dai {
		dai0 {
			playback = <&ssi7>;
			capture  = <&ssi8>;
		};

		dai1 {
			playback = <&ssi0 &src0 &dvc0>;
			capture  = <&ssi1 &src1 &dvc1>;
		};

		dai2 {
			capture  = <&ssi6>;
		};
	};
};

&sdhi3 {
	pinctrl-0 = <&sdhi3_pins_3v3>;
	pinctrl-names = "default";

	vmmc-supply = <&wlan_en>;
	vqmmc-supply = <&vccq_sdhi3>;
	keep-power-in-suspend;
	enable-sdio-wakeup;
	bus-width = <4>;
	no-1-8-v;
	non-removable;
	cap-power-off-card;
	max-frequency = <26000000>;
	status = "okay";

	#address-cells = <1>;
	#size-cells = <0>;
	wlcore: wlcore@2 {
		compatible = "ti,wl1837";
		reg = <2>;
		interrupt-parent = <&gpio1>;
		interrupts = <25 IRQ_TYPE_EDGE_RISING>;
	};
};

&usb2_phy0 {
	pinctrl-0 = <&usb0_pins>;
	pinctrl-names = "default";

	status = "okay";
};

&hsusb {
	status = "okay";
};

&ehci0 {
	status = "okay";
};

&ohci0 {
	status = "okay";
};

&xhci0 {
	status = "okay";
};

&msiof1 {
	status = "disabled";
};

&can0 {
	pinctrl-0 = <&can0_pins>;
	pinctrl-names = "default";
	status = "okay";

	renesas,can-clock-select = <0x0>;
};

&can1 {
	pinctrl-0 = <&can1_pins>;
	pinctrl-names = "default";
	status = "okay";

	renesas,can-clock-select = <0x0>;
};

&canfd {
	pinctrl-0 = <&canfd0_pins &canfd1_pins>;
	pinctrl-names = "default";
	status = "disabled";

	channel0 {
		status = "okay";
	};

	channel1 {
		status = "okay";
	};
};

&ssi8 {
	shared-pin;
};
